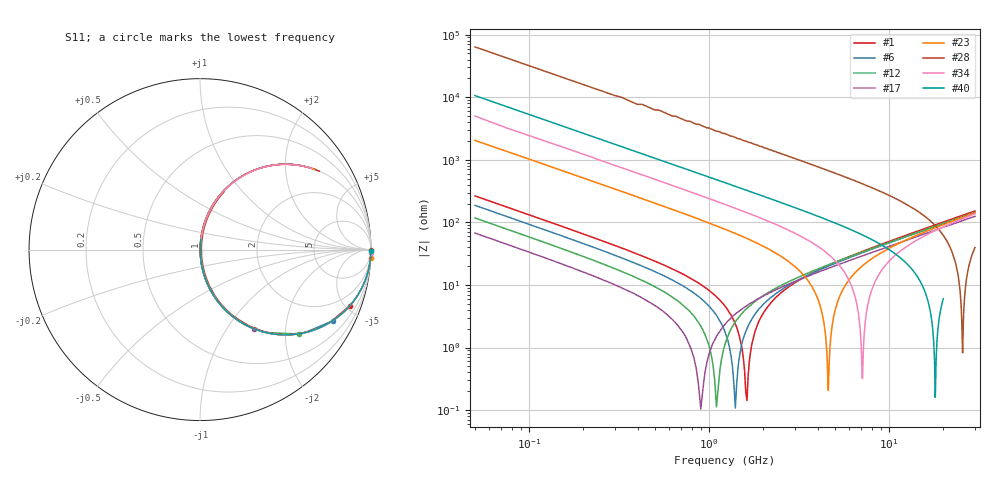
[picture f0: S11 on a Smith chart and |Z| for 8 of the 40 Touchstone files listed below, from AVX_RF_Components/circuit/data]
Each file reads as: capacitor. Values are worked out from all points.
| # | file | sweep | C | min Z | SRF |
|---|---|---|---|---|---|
| 1 | C0603SE120.s2p | 50 MHz to 30 GHz | 12 pF | 143 mohm | 1.613 GHz |
| 2 | C0603SE130.s2p | 50 MHz to 30 GHz | 13 pF | 137 mohm | 1.589 GHz |
| 3 | C0603SE140.s2p | 50 MHz to 30 GHz | 14 pF | 131 mohm | 1.54 GHz |
| 4 | C0603SE150.s2p | 50 MHz to 30 GHz | 15 pF | 135 mohm | 1.506 GHz |
| 5 | C0603SE160.s2p | 50 MHz to 30 GHz | 16 pF | 134 mohm | 1.44 GHz |
| 6 | C0603SE170.s2p | 50 MHz to 30 GHz | 17 pF | 108 mohm | 1.397 GHz |
| 7 | C0603SE180.s2p | 50 MHz to 30 GHz | 18 pF | 130 mohm | 1.341 GHz |
| 8 | C0603SE190.s2p | 50 MHz to 30 GHz | 19 pF | 127 mohm | 1.305 GHz |
| 9 | C0603SE200.s2p | 50 MHz to 30 GHz | 20 pF | 126 mohm | 1.229 GHz |
| 10 | C0603SE220.s2p | 50 MHz to 30 GHz | 22 pF | 112 mohm | 1.201 GHz |
| 11 | C0603SE240.s2p | 50 MHz to 30 GHz | 24 pF | 115 mohm | 1.169 GHz |
| 12 | C0603SE270.s2p | 50 MHz to 30 GHz | 27 pF | 113 mohm | 1.102 GHz |
| 13 | C0603SE300.s2p | 50 MHz to 30 GHz | 30 pF | 110 mohm | 1.045 GHz |
| 14 | C0603SE330.s2p | 50 MHz to 30 GHz | 33 pF | 143 mohm | 1.034 GHz |
| 15 | C0603SE360.s2p | 50 MHz to 30 GHz | 36 pF | 144 mohm | 1.01 GHz |
| 16 | C0603SE390.s2p | 50 MHz to 30 GHz | 39 pF | 133 mohm | 988.3 MHz |
| 17 | C0603SE470.s2p | 50 MHz to 30 GHz | 47 pF | 104 mohm | 900.3 MHz |
| 18 | C0603SEA05.s2p | 50 MHz to 30 GHz | 1.05 pF | 220 mohm | 5.59 GHz |
| 19 | C0603SEA15.s2p | 50 MHz to 30 GHz | 1.15 pF | 217 mohm | 5.341 GHz |
| 20 | C0603SEA25.s2p | 50 MHz to 30 GHz | 1.25 pF | 227 mohm | 5.074 GHz |
| 21 | C0603SEA35.s2p | 50 MHz to 30 GHz | 1.35 pF | 229 mohm | 4.883 GHz |
| 22 | C0603SEA45.s2p | 50 MHz to 30 GHz | 1.45 pF | 216 mohm | 4.711 GHz |
| 23 | C0603SEA55.s2p | 50 MHz to 30 GHz | 1.55 pF | 207 mohm | 4.589 GHz |
| 24 | C0603SEA65.s2p | 50 MHz to 30 GHz | 1.65 pF | 208 mohm | 4.448 GHz |
| 25 | C0603SEA75.s2p | 50 MHz to 30 GHz | 1.75 pF | 203 mohm | 4.338 GHz |
| 26 | C0603SEA85.s2p | 50 MHz to 30 GHz | 1.85 pF | 204 mohm | 4.212 GHz |
| 27 | C0603SEA95.s2p | 50 MHz to 30 GHz | 1.95 pF | 197 mohm | 4.015 GHz |
| 28 | C0603SEr05.s2p | 50 MHz to 30 GHz | 50 fF | 826 mohm | 25.59 GHz |
| 29 | C0603SEr15.s2p | 50 MHz to 30 GHz | 150 fF | 518 mohm | 14.8 GHz |
| 30 | C0603SEr25.s2p | 50 MHz to 30 GHz | 250 fF | 433 mohm | 11.42 GHz |
| 31 | C0603SEr35.s2p | 50 MHz to 30 GHz | 350 fF | 392 mohm | 9.664 GHz |
| 32 | C0603SEr45.s2p | 50 MHz to 30 GHz | 448 fF | 321 mohm | 8.511 GHz |
| 33 | C0603SEr55.s2p | 50 MHz to 30 GHz | 550 fF | 308 mohm | 7.714 GHz |
| 34 | C0603SEr65.s2p | 50 MHz to 30 GHz | 652 fF | 320 mohm | 7.1 GHz |
| 35 | C0603SEr75.s2p | 50 MHz to 30 GHz | 750 fF | 291 mohm | 6.636 GHz |
| 36 | C0603SEr85.s2p | 50 MHz to 30 GHz | 849 fF | 298 mohm | 6.205 GHz |
| 37 | C0603SEr95.s2p | 50 MHz to 30 GHz | 950 fF | 299 mohm | 5.877 GHz |
| 38 | C1005SE0r1.s2p | 50 MHz to 40 GHz | 99.9 fF | 207 mohm | 31.27 GHz |
| 39 | C1005SE0r2.s2p | 50 MHz to 40 GHz | 200 fF | 219 mohm | 22.11 GHz |
| 40 | C1005SE0r3.s2p | 50 MHz to 20 GHz | 300 fF | 160 mohm | 18.06 GHz |
